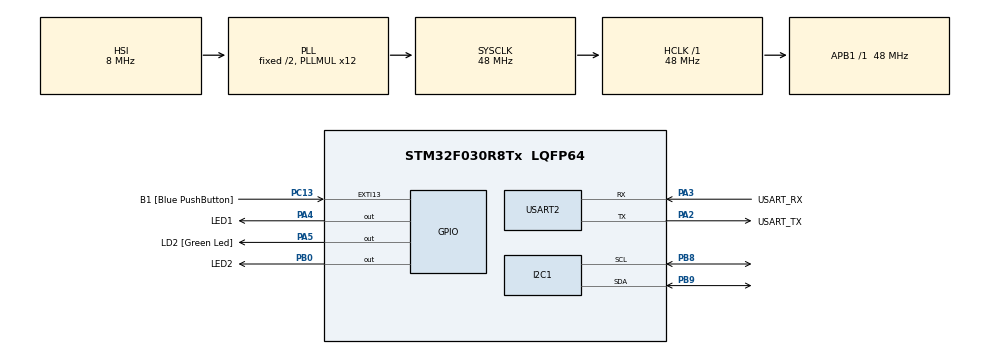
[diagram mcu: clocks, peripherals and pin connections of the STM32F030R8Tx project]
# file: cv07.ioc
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FREERTOS.Queues01=xVisualQueue,16,uint16_t,0,Dynamic,NULL,NULL
FREERTOS.Tasks01=defaultTask,0,128,StartDefaultTask,Default,NULL,Dynamic,NULL,NULL;VisualTask,-3,128,StartVisualTask,Default,NULL,Dynamic,NULL,NULL;AcceleroTask,-3,128,StartAcceleroTask,Default,NULL,Dynamic,NULL,NULL
FREERTOS.configUSE_NEWLIB_REENTRANT=1
Mcu.Family=STM32F0
Mcu.Name=STM32F030R8Tx
Mcu.Package=LQFP64
NVIC.TIM14_IRQn=true\:3\:0\:false\:false\:true\:false\:false\:true\:true
NVIC.TimeBase=TIM14_IRQn
NVIC.TimeBaseIP=TIM14
PA13.GPIO_Label=TMS
PA13.Mode=Serial_Wire
PA13.Signal=SYS_SWDIO
PA14.GPIO_Label=TCK
PA14.Mode=Serial_Wire
PA14.Signal=SYS_SWCLK
PA2.GPIO_Label=USART_TX
PA2.GPIO_Mode=GPIO_MODE_AF_PP
PA2.GPIO_PuPd=GPIO_NOPULL
PA2.GPIO_Speed=GPIO_SPEED_FREQ_LOW
PA2.Mode=Asynchronous
PA2.Signal=USART2_TX
PA3.GPIO_Label=USART_RX
PA3.GPIO_Mode=GPIO_MODE_AF_PP
PA3.GPIO_PuPd=GPIO_NOPULL
PA3.GPIO_Speed=GPIO_SPEED_FREQ_LOW
PA3.Mode=Asynchronous
PA3.Signal=USART2_RX
PA4.GPIO_Label=LED1
PA4.Signal=GPIO_Output
PA5.GPIO_Label=LD2 [Green Led]
PA5.GPIO_Mode=GPIO_MODE_OUTPUT_PP
PA5.GPIO_PuPd=GPIO_NOPULL
PA5.GPIO_Speed=GPIO_SPEED_FREQ_LOW
PA5.Signal=GPIO_Output
PB0.GPIO_Label=LED2
PB0.Signal=GPIO_Output
PB8.Mode=I2C
PB8.Signal=I2C1_SCL
PB9.Mode=I2C
PB9.Signal=I2C1_SDA
PC13.GPIO_Label=B1 [Blue PushButton]
PC13.GPIO_ModeDefaultEXTI=GPIO_MODE_IT_FALLING
PC13.Signal=GPXTI13
PC14-OSC32_IN.Mode=LSE-External-Oscillator
PC14-OSC32_IN.Signal=RCC_OSC32_IN
PC15-OSC32_OUT.Mode=LSE-External-Oscillator
PC15-OSC32_OUT.Signal=RCC_OSC32_OUT
PF0-OSC_IN.Mode=HSE-External-Clock-Source
PF0-OSC_IN.Signal=RCC_OSC_IN
PF1-OSC_OUT.Signal=RCC_OSC_OUT
ProjectManager.HeapSize=0x200
ProjectManager.StackSize=0x400
ProjectManager.TargetToolchain=STM32CubeIDE
RCC.AHBFreq_Value=48000000
RCC.APB1Freq_Value=48000000
RCC.APB1TimFreq_Value=48000000
RCC.HCLKFreq_Value=48000000
RCC.PLLMUL=RCC_PLL_MUL12
RCC.SYSCLKFreq_VALUE=48000000
RCC.SYSCLKSource=RCC_SYSCLKSOURCE_PLLCLK
USART2.VirtualMode-Asynchronous=VM_ASYNC
VP_FREERTOS_VS_CMSIS_V1.Mode=CMSIS_V1
VP_SYS_VS_tim14.Mode=TIM14
board=NUCLEO-F030R8

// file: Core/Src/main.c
/* USER CODE BEGIN Header */
/**
 ******************************************************************************
 * @file           : main.c
 * @brief          : Main program body
 ******************************************************************************
 * @attention
 *
 * Copyright (c) 2023 STMicroelectronics.
 * All rights reserved.
 *
 * This software is licensed under terms that can be found in the LICENSE file
 * in the root directory of this software component.
 * If no LICENSE file comes with this software, it is provided AS-IS.
 *
 ******************************************************************************
 */
/* USER CODE END Header */
#include "main.h"
#include "cmsis_os.h"

/* USER CODE BEGIN Includes */
#include "lis2dw12_reg.h"
#include <stdio.h>

/* USER CODE END Includes */

/* USER CODE BEGIN PD */
#define LED_ON 1
#define LED_OFF 0
#define DELAY_PERIOD 1000
/* USER CODE END PD */

I2C_HandleTypeDef hi2c1;

UART_HandleTypeDef huart2;

osThreadId defaultTaskHandle;
osThreadId VisualTaskHandle;
osThreadId AcceleroTaskHandle;
osMessageQId xVisualQueueHandle;

void SystemClock_Config(void);
static void MX_GPIO_Init(void);
static void MX_USART2_UART_Init(void);
static void MX_I2C1_Init(void);
void StartDefaultTask(void const *argument);
void StartVisualTask(void const *argument);
void StartAcceleroTask(void const *argument);

/* USER CODE BEGIN PFP */
static stmdev_ctx_t lis2dw12 = { .write_reg = platform_write, .read_reg =
		platform_read, .handle = &hi2c1, };
/* USER CODE END PFP */

int main(void) {

	/* MCU Configuration--------------------------------------------------------*/

	/* Reset of all peripherals, Initializes the Flash interface and the Systick. */
	HAL_Init();

	/* Configure the system clock */
	SystemClock_Config();

	/* Initialize all configured peripherals */
	MX_GPIO_Init();
	MX_USART2_UART_Init();
	MX_I2C1_Init();

	/* Create the queue(s) */
	/* definition and creation of xVisualQueue */
	osMessageQDef(xVisualQueue, 16, uint16_t);
	xVisualQueueHandle = osMessageCreate(osMessageQ(xVisualQueue), NULL);

	/* Create the thread(s) */
	/* definition and creation of defaultTask */
	osThreadDef(defaultTask, StartDefaultTask, osPriorityNormal, 0, 128);
	defaultTaskHandle = osThreadCreate(osThread(defaultTask), NULL);

	/* definition and creation of VisualTask */
	osThreadDef(VisualTask, StartVisualTask, osPriorityIdle, 0, 128);
	VisualTaskHandle = osThreadCreate(osThread(VisualTask), NULL);

	/* definition and creation of AcceleroTask */
	osThreadDef(AcceleroTask, StartAcceleroTask, osPriorityIdle, 0, 128);
	AcceleroTaskHandle = osThreadCreate(osThread(AcceleroTask), NULL);

	/* Start scheduler */
	osKernelStart();

	/* We should never get here as control is now taken by the scheduler */
	/* Infinite loop */
	/* USER CODE BEGIN WHILE */
	//za predpokladu ze vsecko dobre funguje, nedostaneme sa do whlile, p
	while (1) {
		/* USER CODE END WHILE */

	}
}

void SystemClock_Config(void) {
	RCC_OscInitTypeDef RCC_OscInitStruct = { 0 };
	RCC_ClkInitTypeDef RCC_ClkInitStruct = { 0 };
	RCC_PeriphCLKInitTypeDef PeriphClkInit = { 0 };

	/** Initializes the RCC Oscillators according to the specified parameters
	 * in the RCC_OscInitTypeDef structure.
	 */
	RCC_OscInitStruct.OscillatorType = RCC_OSCILLATORTYPE_HSI;
	RCC_OscInitStruct.HSIState = RCC_HSI_ON;
	RCC_OscInitStruct.HSICalibrationValue = RCC_HSICALIBRATION_DEFAULT;
	RCC_OscInitStruct.PLL.PLLState = RCC_PLL_ON;
	RCC_OscInitStruct.PLL.PLLSource = RCC_PLLSOURCE_HSI;
	RCC_OscInitStruct.PLL.PLLMUL = RCC_PLL_MUL12;
	RCC_OscInitStruct.PLL.PREDIV = RCC_PREDIV_DIV1;
	if (HAL_RCC_OscConfig(&RCC_OscInitStruct) != HAL_OK) {
		Error_Handler();
	}

	/** Initializes the CPU, AHB and APB buses clocks
	 */
	RCC_ClkInitStruct.ClockType = RCC_CLOCKTYPE_HCLK | RCC_CLOCKTYPE_SYSCLK
			| RCC_CLOCKTYPE_PCLK1;
	RCC_ClkInitStruct.SYSCLKSource = RCC_SYSCLKSOURCE_PLLCLK;
	RCC_ClkInitStruct.AHBCLKDivider = RCC_SYSCLK_DIV1;
	RCC_ClkInitStruct.APB1CLKDivider = RCC_HCLK_DIV1;

	if (HAL_RCC_ClockConfig(&RCC_ClkInitStruct, FLASH_LATENCY_1) != HAL_OK) {
		Error_Handler();
	}
	PeriphClkInit.PeriphClockSelection = RCC_PERIPHCLK_I2C1;
	PeriphClkInit.I2c1ClockSelection = RCC_I2C1CLKSOURCE_HSI;
	if (HAL_RCCEx_PeriphCLKConfig(&PeriphClkInit) != HAL_OK) {
		Error_Handler();
	}
}

static void MX_I2C1_Init(void) {

	hi2c1.Instance = I2C1;
	hi2c1.Init.Timing = 0x2000090E;
	hi2c1.Init.OwnAddress1 = 0;
	hi2c1.Init.AddressingMode = I2C_ADDRESSINGMODE_7BIT;
	hi2c1.Init.DualAddressMode = I2C_DUALADDRESS_DISABLE;
	hi2c1.Init.OwnAddress2 = 0;
	hi2c1.Init.OwnAddress2Masks = I2C_OA2_NOMASK;
	hi2c1.Init.GeneralCallMode = I2C_GENERALCALL_DISABLE;
	hi2c1.Init.NoStretchMode = I2C_NOSTRETCH_DISABLE;
	if (HAL_I2C_Init(&hi2c1) != HAL_OK) {
		Error_Handler();
	}

	/** Configure Analogue filter
	 */
	if (HAL_I2CEx_ConfigAnalogFilter(&hi2c1, I2C_ANALOGFILTER_ENABLE)
			!= HAL_OK) {
		Error_Handler();
	}

	/** Configure Digital filter
	 */
	if (HAL_I2CEx_ConfigDigitalFilter(&hi2c1, 0) != HAL_OK) {
		Error_Handler();
	}

}

static void MX_USART2_UART_Init(void) {

	huart2.Instance = USART2;
	huart2.Init.BaudRate = 38400;
	huart2.Init.WordLength = UART_WORDLENGTH_8B;
	huart2.Init.StopBits = UART_STOPBITS_1;
	huart2.Init.Parity = UART_PARITY_NONE;
	huart2.Init.Mode = UART_MODE_TX_RX;
	huart2.Init.HwFlowCtl = UART_HWCONTROL_NONE;
	huart2.Init.OverSampling = UART_OVERSAMPLING_16;
	huart2.Init.OneBitSampling = UART_ONE_BIT_SAMPLE_DISABLE;
	huart2.AdvancedInit.AdvFeatureInit = UART_ADVFEATURE_NO_INIT;
	if (HAL_UART_Init(&huart2) != HAL_OK) {
		Error_Handler();
	}

}

static void MX_GPIO_Init(void) {
	GPIO_InitTypeDef GPIO_InitStruct = { 0 };

	/* GPIO Ports Clock Enable */
	__HAL_RCC_GPIOC_CLK_ENABLE();
	__HAL_RCC_GPIOF_CLK_ENABLE();
	__HAL_RCC_GPIOA_CLK_ENABLE();
	__HAL_RCC_GPIOB_CLK_ENABLE();

	/*Configure GPIO pin Output Level */
	HAL_GPIO_WritePin(GPIOA, LED1_Pin | LD2_Pin, GPIO_PIN_RESET);

	/*Configure GPIO pin Output Level */
	HAL_GPIO_WritePin(LED2_GPIO_Port, LED2_Pin, GPIO_PIN_RESET);

	/*Configure GPIO pin : B1_Pin */
	GPIO_InitStruct.Pin = B1_Pin;
	GPIO_InitStruct.Mode = GPIO_MODE_IT_FALLING;
	GPIO_InitStruct.Pull = GPIO_NOPULL;
	HAL_GPIO_Init(B1_GPIO_Port, &GPIO_InitStruct);

	/*Configure GPIO pins : LED1_Pin LD2_Pin */
	GPIO_InitStruct.Pin = LED1_Pin | LD2_Pin;
	GPIO_InitStruct.Mode = GPIO_MODE_OUTPUT_PP;
	GPIO_InitStruct.Pull = GPIO_NOPULL;
	GPIO_InitStruct.Speed = GPIO_SPEED_FREQ_LOW;
	HAL_GPIO_Init(GPIOA, &GPIO_InitStruct);

	/*Configure GPIO pin : LED2_Pin */
	GPIO_InitStruct.Pin = LED2_Pin;
	GPIO_InitStruct.Mode = GPIO_MODE_OUTPUT_PP;
	GPIO_InitStruct.Pull = GPIO_NOPULL;
	GPIO_InitStruct.Speed = GPIO_SPEED_FREQ_LOW;
	HAL_GPIO_Init(LED2_GPIO_Port, &GPIO_InitStruct);

}

/* USER CODE BEGIN 4 */
static int32_t platform_write(void *handle, uint8_t reg, uint8_t *bufp,
		uint16_t len) {
	HAL_I2C_Mem_Write(handle, LIS2DW12_I2C_ADD_H, reg, I2C_MEMADD_SIZE_8BIT,
			bufp, len, 1000);
	return 0;
}
static int32_t platform_read(void *handle, uint8_t reg, uint8_t *bufp,
		uint16_t len) {
	HAL_I2C_Mem_Read(handle, LIS2DW12_I2C_ADD_H, reg, I2C_MEMADD_SIZE_8BIT,
			bufp, len, 1000);
	return 0;
}

int _write(int file, char const *buf, int n) {
	/* stdout redirection to UART2 */
	HAL_UART_Transmit(&huart2, (uint8_t*) (buf), n, HAL_MAX_DELAY);
	return n;
}

/* USER CODE END 4 */

void StartDefaultTask(void const *argument) {
	for (;;) {
		osDelay(1);
	}
}

void StartVisualTask(void const *argument) {
	/* USER CODE BEGIN StartVisualTask */
	/* Infinite loop */
	for (;;) {
		int16_t msg;
		if (xQueueReceive(xVisualQueueHandle, &msg, portMAX_DELAY)) {
			if (msg > 1000) {
				//LED1 - ON
				HAL_GPIO_WritePin(LED1_GPIO_Port, LED1_Pin, LED_OFF);
				//LED2 - OFF
				HAL_GPIO_WritePin(LED2_GPIO_Port, LED2_Pin, LED_ON);

			} else if (msg < -1000) {
				//LED2 - ON
				HAL_GPIO_WritePin(LED2_GPIO_Port, LED2_Pin, LED_OFF);
				//LED1 - OFF
				HAL_GPIO_WritePin(LED1_GPIO_Port, LED1_Pin, LED_ON);
			} else {
				HAL_GPIO_WritePin(LED1_GPIO_Port, LED1_Pin, LED_OFF);
				HAL_GPIO_WritePin(LED2_GPIO_Port, LED2_Pin, LED_OFF);
			}

		}
		osDelay(1);
	}
	/* USER CODE END StartVisualTask */
}

void StartAcceleroTask(void const *argument) {
	/* USER CODE BEGIN StartAcceleroTask */
	/* Infinite loop */

	uint32_t Tick = 0;
	uint32_t static last_time;
	uint8_t whoamI = 0;
	lis2dw12_device_id_get(&lis2dw12, &whoamI);
	printf("LIS2DW12_ID %s\n", (whoamI == LIS2DW12_ID) ? "OK" : "FAIL");

	lis2dw12_full_scale_set(&lis2dw12, LIS2DW12_2g);
	lis2dw12_power_mode_set(&lis2dw12, LIS2DW12_CONT_LOW_PWR_LOW_NOISE_2);
	lis2dw12_block_data_update_set(&lis2dw12, PROPERTY_ENABLE);
	lis2dw12_fifo_mode_set(&lis2dw12, LIS2DW12_STREAM_MODE); // enable continuous FIFO
	lis2dw12_data_rate_set(&lis2dw12, LIS2DW12_XL_ODR_25Hz); // enable part from power-down

	for (;;) {
		// Check device ID

		uint8_t samples;
		int16_t raw_acceleration[3];
		lis2dw12_fifo_data_level_get(&lis2dw12, &samples);
		int16_t msg;

		for (uint8_t i = 0; i < samples; i++) {
			// Read acceleration data
			lis2dw12_acceleration_raw_get(&lis2dw12, raw_acceleration);

		}

		/* Code used for testing Visualtask with randim numbers

		 // field of random numbers simulatin accelerometer
		 int16_t random_test_numbers[4] = { -5000, 0, 5000, 0 };
		 int16_t msg;
		 // itereating trhrough field of random numbers

		 for (int8_t i = 0; i < 4; ++i) {
		 msg = random_test_numbers[i];
		 // sending random numbers to visual task thrgought queue
		 xQueueSend(xVisualQueueHandle, &msg, 0);
		 osDelay(300);
		 }*/
		Tick = xTaskGetTickCount();
		if (Tick > last_time + DELAY_PERIOD) {
			last_time = Tick;

			printf("X=%d Y=%d Z=%d\n", raw_acceleration[0], raw_acceleration[1],
					raw_acceleration[2]);

		}

		msg = raw_acceleration[0];
		xQueueSend(xVisualQueueHandle, &msg, 0);
		osDelay(50);
	}
	/* USER CODE END StartAcceleroTask */
}

void HAL_TIM_PeriodElapsedCallback(TIM_HandleTypeDef *htim) {
	if (htim->Instance == TIM14) {
		HAL_IncTick();
	}
}

void Error_Handler(void) {
	__disable_irq();
	while (1) {
	}
}
